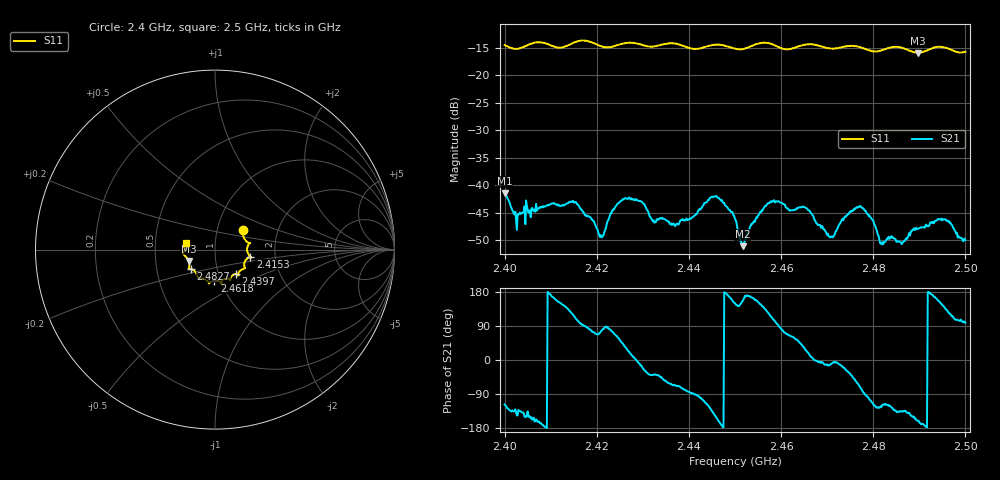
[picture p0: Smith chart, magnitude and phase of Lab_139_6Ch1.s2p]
# Hz S RI R 50
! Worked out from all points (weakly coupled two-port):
!   601 points, 2.4 GHz to 2.5 GHz, reference 50 ohm
!   highest |S21| = -41.44 dB at 2.4 GHz (marker M1); lowest = -51.0 dB at 2.4517 GHz (marker M2)
!   lowest |S11| = -15.9 dB at 2.4897 GHz (marker M3), VSWR 1.38, Z = 36.9 - j4.81 ohm
!   |S11| at or under -10 dB: start of sweep to end of sweep
!   S12 and S22 are empty: the file has one direction only
!   S11 on the Smith chart (normalised r, x): 2.4 GHz: 1.33, +0.29; 2.4153 GHz: 1.48, -0.12; 2.4397 GHz: 1.21, -0.34; 2.4618 GHz: 0.94, -0.33; 2.4827 GHz: 0.75, -0.17; 2.5 GHz: 0.72, +0.06
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2.4e9  0.1554 0.1067  -0.00387 -0.00753  0 0  0 0
2.4025e9  0.1606 0.0666  -0.00354 -0.00321  0 0  0 0
2.415333e9  0.1967 -0.0392  -0.00257 0.00655  0 0  0 0
2.416667e9  0.2025 -0.0433  -0.000351 0.00598  0 0  0 0
2.421e9  0.1755 -0.0534  0.000762 0.00331  0 0  0 0
2.426e9  0.1671 -0.1018  0.0061 0.00451  0 0  0 0
2.433333e9  0.1297 -0.1339  0.00374 -0.00312  0 0  0 0
2.439667e9  0.1168 -0.136  0.000599 -0.00479  0 0  0 0
2.4455e9  0.084 -0.1698  -0.00635 -0.00474  0 0  0 0
2.45e9  0.0654 -0.1619  -0.00431 0.00245  0 0  0 0
2.451667e9  0.0477 -0.1661  -0.00255 0.00116  0 0  0 0
2.457333e9  0.0391 -0.1919  -0.00374 0.00581  0 0  0 0
2.461833e9  -0.00327 -0.1729  0.00249 0.00534  0 0  0 0
2.466667e9  -0.0347 -0.1883  0.00546 0.000677  0 0  0 0
2.470833e9  -0.0568 -0.1655  0.00336 -0.000598  0 0  0 0
2.477333e9  -0.0974 -0.1505  0.00165 -0.00621  0 0  0 0
2.482667e9  -0.135 -0.1086  -0.00134 -0.0028  0 0  0 0
2.483333e9  -0.1402 -0.1082  -0.00177 -0.00292  0 0  0 0
2.486333e9  -0.1452 -0.1021  -0.00215 -0.00207  0 0  0 0
2.489667e9  -0.1469 -0.0634  -0.00378 -0.00135  0 0  0 0
2.495333e9  -0.1788 -0.0183  -0.00381 0.00311  0 0  0 0
2.5e9  -0.1592 0.0388  -0.000459 0.00314  0 0  0 0
